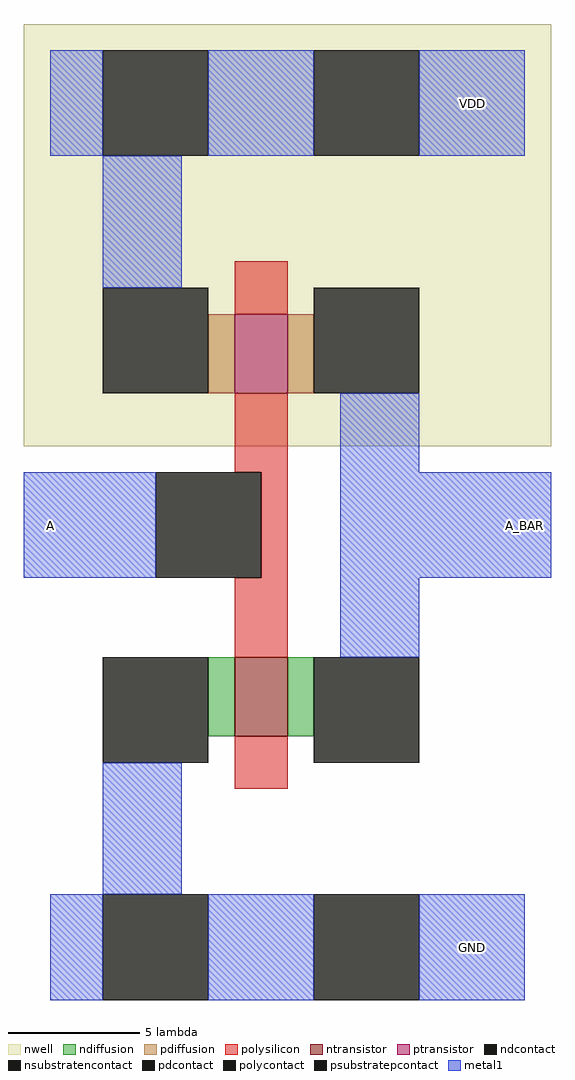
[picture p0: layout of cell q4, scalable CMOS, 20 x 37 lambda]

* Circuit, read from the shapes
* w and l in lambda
.subckt q4 A A_BAR GND VDD
M1 A_BAR A GND GND nfet w=3 l=2
M2 A_BAR A VDD VDD pfet w=3 l=2
.ends

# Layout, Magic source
magic
tech scmos
<< nwell >>
rect -13 3 7 19
<< polysilicon >>
rect -5 8 -3 10
rect -5 2 -3 5
rect -4 -2 -3 2
rect -5 -5 -3 -2
rect -5 -10 -3 -8
<< ndiffusion >>
rect -6 -8 -5 -5
rect -3 -8 -2 -5
<< pdiffusion >>
rect -6 5 -5 8
rect -3 5 -2 8
<< metal1 >>
rect -12 14 -10 18
rect -6 14 -2 18
rect 2 14 6 18
rect -10 9 -7 14
rect -1 2 2 5
rect -13 -2 -8 2
rect -1 -2 7 2
rect -1 -5 2 -2
rect -10 -14 -7 -9
rect -12 -18 -10 -14
rect -6 -18 -2 -14
rect 2 -18 6 -14
<< ntransistor >>
rect -5 -8 -3 -5
<< ptransistor >>
rect -5 5 -3 8
<< polycontact >>
rect -8 -2 -4 2
<< ndcontact >>
rect -10 -9 -6 -5
rect -2 -9 2 -5
<< pdcontact >>
rect -10 5 -6 9
rect -2 5 2 9
<< psubstratepcontact >>
rect -10 -18 -6 -14
rect -2 -18 2 -14
<< nsubstratencontact >>
rect -10 14 -6 18
rect -2 14 2 18
<< labels >>
rlabel metal1 -12 0 -12 0 3 A
rlabel metal1 6 0 6 0 7 A_BAR
rlabel metal1 4 16 4 16 6 VDD
rlabel metal1 4 -16 4 -16 8 GND
<< end >>
